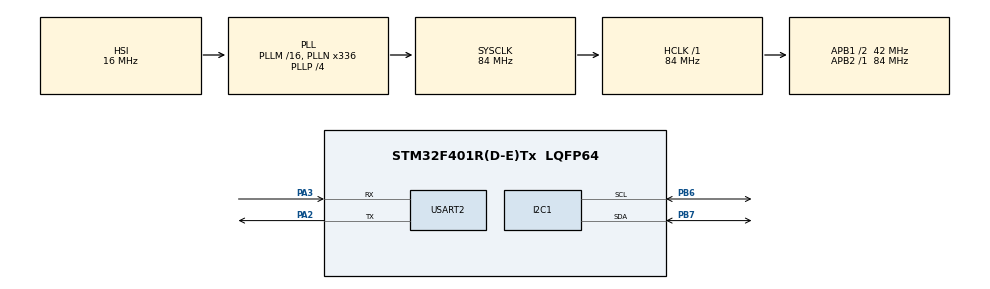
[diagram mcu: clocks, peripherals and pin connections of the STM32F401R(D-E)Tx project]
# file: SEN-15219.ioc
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I2C1.I2C_Mode=I2C_Standard
Mcu.Family=STM32F4
Mcu.Name=STM32F401R(D-E)Tx
Mcu.Package=LQFP64
NVIC.PriorityGroup=NVIC_PRIORITYGROUP_0
PA2.Mode=Asynchronous
PA2.Signal=USART2_TX
PA3.Mode=Asynchronous
PA3.Signal=USART2_RX
PB6.Mode=I2C
PB6.Signal=I2C1_SCL
PB7.Mode=I2C
PB7.Signal=I2C1_SDA
ProjectManager.HeapSize=0x200
ProjectManager.StackSize=0x400
ProjectManager.TargetToolchain=STM32CubeIDE
RCC.AHBFreq_Value=84000000
RCC.APB1CLKDivider=RCC_HCLK_DIV2
RCC.APB1Freq_Value=42000000
RCC.APB1TimFreq_Value=84000000
RCC.APB2Freq_Value=84000000
RCC.APB2TimFreq_Value=84000000
RCC.CortexFreq_Value=84000000
RCC.HCLKFreq_Value=84000000
RCC.HSE_VALUE=8000000
RCC.HSI_VALUE=16000000
RCC.LSE_VALUE=32768
RCC.PLLN=336
RCC.PLLP=RCC_PLLP_DIV4
RCC.PLLQ=7
RCC.SYSCLKFreq_VALUE=84000000
RCC.SYSCLKSource=RCC_SYSCLKSOURCE_PLLCLK
RCC.VCOOutputFreq_Value=336000000
USART2.VirtualMode=VM_ASYNC
board=NUCLEO-F401RE

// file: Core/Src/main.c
/* USER CODE BEGIN Header */
/**
  ******************************************************************************
  * @file           : main.c
  * @brief          : Main program body
  ******************************************************************************
  * @attention
  *
  * Copyright (c) 2025 STMicroelectronics.
  * All rights reserved.
  *
  * This software is licensed under terms that can be found in the LICENSE file
  * in the root directory of this software component.
  * If no LICENSE file comes with this software, it is provided AS-IS.
  *
  ******************************************************************************
  */
/* USER CODE END Header */
#include "main.h"
#include "i2c.h"
#include "usart.h"
#include "gpio.h"

/* USER CODE BEGIN PV */
SparkFun_Bio_Sensor_Hub bioHub;
bioData body;
char msg[64];

// Reset pin, MFIO pin
int resPin = 4;
int mfioPin = 5;

// Possible widths: 69, 118, 215, 411us
int width = 411;
// Possible samples: 50, 100, 200, 400, 800, 1000, 1600, 3200 samples/second
// Not every sample amount is possible with every width; check out our hookup
// guide for more information.
int samples = 400;
int pulseWidthVal;
int sampleVal;
/* USER CODE END PV */

void SystemClock_Config(void);
/* USER CODE BEGIN PFP */
void print(const char *msg);

/* USER CODE END PFP */

int main(void)
{

  /* MCU Configuration--------------------------------------------------------*/

  /* Reset of all peripherals, Initializes the Flash interface and the Systick. */
  HAL_Init();

  /* Configure the system clock */
  SystemClock_Config();

  /* Initialize all configured peripherals */
  MX_GPIO_Init();
  MX_I2C1_Init();
  MX_USART2_UART_Init();
  /* USER CODE BEGIN 2 */

  SparkFun_Bio_Sensor_Hub_init(&bioHub, resPin, mfioPin);

  int result = SparkFun_Bio_Sensor_Hub_begin(&bioHub);

  if (result == 0)
      print("Sensor started!\r\n");

  print("Configuring Sensor....\r\n");

  int error = SparkFun_Bio_Sensor_Hub_configSensorBpm(&bioHub, MODE_ONE);

  if (error == 0)
      print("Sensor configured.\r\n");
  else {
      print("Error configuring sensor.\r\n");
      snprintf(msg, sizeof(msg), "Error: %d\r\n", error);
      print(msg);
  }

  error = SparkFun_Bio_Sensor_Hub_setPulseWidth(&bioHub, width);
  if (error == 0) // Zero errors.
      print("Pulse Width Set.\r\n");
  else {
      print("Could not set Pulse Width.\r\n");
      snprintf(msg, sizeof(msg), "Error: %d\r\n", error);
      print(msg);
  }

  // Check that the pulse width was set.
  pulseWidthVal = SparkFun_Bio_Sensor_Hub_readPulseWidth(&bioHub);
  snprintf(msg, sizeof(msg), "Pulse Width: %u\r\n", pulseWidthVal);
  print(msg);

  // Set sample rate per second. Remember that not every sample rate is
  // available with every pulse width. Check hookup guide for more information.
  error = SparkFun_Bio_Sensor_Hub_setSampleRate(&bioHub, samples);
  if (error == 0) { // Zero errors.
      print("Sample Rate Set.\r\n");
  }
  else {
      print("Could not set Sample Rate!\r\n");
      snprintf(msg, sizeof(msg), "Error: %d\r\n", error);
      print(msg);
  }

  // Check sample rate.
  sampleVal = SparkFun_Bio_Sensor_Hub_readSampleRate(&bioHub);
  snprintf(msg, sizeof(msg), "Sample rate is set to: %u\r\n", sampleVal);
  print(msg);

  // Data lags a bit behind the sensor, if you're finger is on the sensor when
  // it's being configured this delay will give some time for the data to catch
  // up.
  print("Loading up the buffer with data....\r\n");
  HAL_Delay(4000);

  /* USER CODE END 2 */

  /* Infinite loop */
  /* USER CODE BEGIN WHILE */
  while (1)
  {
	  // Information from the readSensor function will be saved to our "body"
	  // variable.
	  body = SparkFun_Bio_Sensor_Hub_readSensorBpm(&bioHub);

	  // Infrared LED counts
	  snprintf(msg, sizeof(msg), "Infrared LED counts: %lu\r\n", body.irLed);
	  print(msg);

	  // Red LED counts
	  snprintf(msg, sizeof(msg), "Red LED counts: %lu\r\n", body.redLed);
	  print(msg);

	  // Heartrate
	  snprintf(msg, sizeof(msg), "Heartrate: %u.%u bpm\r\n", body.heartRate / 10,body.heartRate % 10);
	  print(msg);

	  // Confidence
	  snprintf(msg, sizeof(msg), "Confidence: %u\r\n", body.confidence);
	  print(msg);

	  // Blood Oxygen
	  snprintf(msg, sizeof(msg), "Blood Oxygen: %u\r\n", body.oxygen);
	  print(msg);

	  // Status
	  snprintf(msg, sizeof(msg), "Status: %u\r\n", body.status);
	  print(msg);

	  // Slow it down or your heart rate will go up trying to keep up
	  // with the flow of numbers
	  HAL_Delay(250);

    /* USER CODE END WHILE */

  }
}

void SystemClock_Config(void)
{
  RCC_OscInitTypeDef RCC_OscInitStruct = {0};
  RCC_ClkInitTypeDef RCC_ClkInitStruct = {0};

  /** Configure the main internal regulator output voltage
  */
  __HAL_RCC_PWR_CLK_ENABLE();
  __HAL_PWR_VOLTAGESCALING_CONFIG(PWR_REGULATOR_VOLTAGE_SCALE2);

  /** Initializes the RCC Oscillators according to the specified parameters
  * in the RCC_OscInitTypeDef structure.
  */
  RCC_OscInitStruct.OscillatorType = RCC_OSCILLATORTYPE_HSI;
  RCC_OscInitStruct.HSIState = RCC_HSI_ON;
  RCC_OscInitStruct.HSICalibrationValue = RCC_HSICALIBRATION_DEFAULT;
  RCC_OscInitStruct.PLL.PLLState = RCC_PLL_ON;
  RCC_OscInitStruct.PLL.PLLSource = RCC_PLLSOURCE_HSI;
  RCC_OscInitStruct.PLL.PLLM = 16;
  RCC_OscInitStruct.PLL.PLLN = 336;
  RCC_OscInitStruct.PLL.PLLP = RCC_PLLP_DIV4;
  RCC_OscInitStruct.PLL.PLLQ = 7;
  if (HAL_RCC_OscConfig(&RCC_OscInitStruct) != HAL_OK)
  {
    Error_Handler();
  }

  /** Initializes the CPU, AHB and APB buses clocks
  */
  RCC_ClkInitStruct.ClockType = RCC_CLOCKTYPE_HCLK|RCC_CLOCKTYPE_SYSCLK
                              |RCC_CLOCKTYPE_PCLK1|RCC_CLOCKTYPE_PCLK2;
  RCC_ClkInitStruct.SYSCLKSource = RCC_SYSCLKSOURCE_PLLCLK;
  RCC_ClkInitStruct.AHBCLKDivider = RCC_SYSCLK_DIV1;
  RCC_ClkInitStruct.APB1CLKDivider = RCC_HCLK_DIV2;
  RCC_ClkInitStruct.APB2CLKDivider = RCC_HCLK_DIV1;

  if (HAL_RCC_ClockConfig(&RCC_ClkInitStruct, FLASH_LATENCY_2) != HAL_OK)
  {
    Error_Handler();
  }
}

/* USER CODE BEGIN 4 */
void print(const char *msg)
{
    HAL_UART_Transmit(&huart2, (uint8_t *)msg, strlen(msg), HAL_MAX_DELAY);
}

/* USER CODE END 4 */

void Error_Handler(void)
{
  __disable_irq();
  while (1)
  {
  }
}
